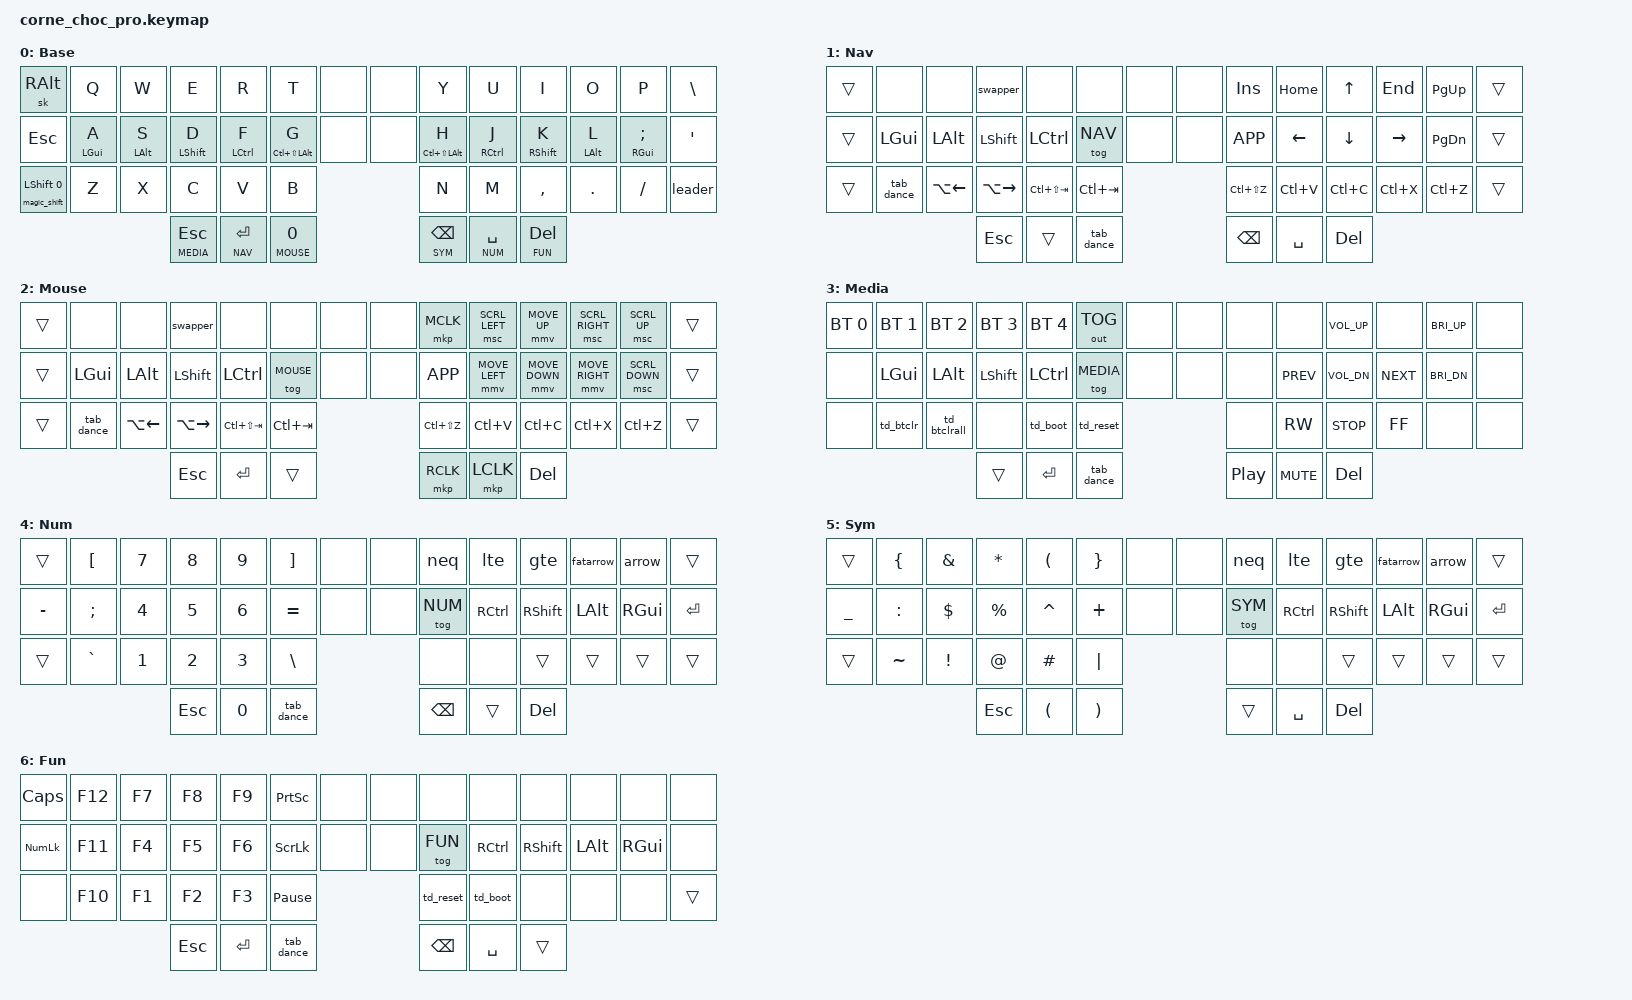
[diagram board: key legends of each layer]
/*
 * Corne Choc Pro BT - Miryoku-derived layout.
 *
 * Physical key positions:
 *
 *    0   1   2   3   4   5   6  |  7   8   9  10  11  12  13
 *   14  15  16  17  18  19  20  | 21  22  23  24  25  26  27
 *   28  29  30  31  32  33      |     34  35  36  37  38  39
 *               40  41  42      | 43  44  45
 *
 * Positions 6, 7, 20 and 21 are the board's optional inner keys, not fitted on
 * this unit, so their &none bindings never fire.
 *
 * Thumbs, outermost -> innermost:
 *   left  40 = Esc / MEDIA  41 = Enter / NAV  42 = Tab / MOUSE
 *   right 43 = Bspc / SYM   44 = Space / NUM  45 = Del / FUN
 */

#include <behaviors.dtsi>
#include <behaviors/num_word.dtsi>   // zmk-auto-layer
#include <dt-bindings/zmk/keys.h>
#include <dt-bindings/zmk/bt.h>
#include <dt-bindings/zmk/outputs.h>

/* Must precede pointing.h, which bakes these into MOVE_UP / SCRL_UP. */
#define ZMK_POINTING_DEFAULT_MOVE_VAL 1800
#define ZMK_POINTING_DEFAULT_SCRL_VAL 15
#include <dt-bindings/zmk/pointing.h>

#include <zmk-helpers/helper.h>

#define BASE  0
#define NAV   1
#define MOUSE 2
#define MEDIA 3
#define NUM   4
#define SYM   5
#define FUN   6

/* Meh = Ctrl+Shift+Alt, on the inner index finger of each hand. */
#define MEH LC(LS(LALT))

#define KEYS_L  0  1  2  3  4  5  6 14 15 16 17 18 19 20 28 29 30 31 32 33
#define KEYS_R  7  8  9 10 11 12 13 21 22 23 24 25 26 27 34 35 36 37 38 39
#define THUMBS 40 41 42 43 44 45

/* Tap a key then immediately hold it and the tap repeats. */
#define QUICK_TAP_MS 175

/* ZMK's &lt is tap-preferred with quick-tap disabled by default, which loses
 * tap-then-hold repeat on Backspace and Space.
 * No hold-trigger-key-positions: a layer thumb must be holdable alongside a
 * same-hand key, which the browser row on NAV/MOUSE relies on.
 * No require-prior-idle-ms: Space and Backspace must stay usable immediately
 * after a keystroke. */
&lt {
    flavor = "balanced";
    tapping-term-ms = <200>;
    quick-tap-ms = <QUICK_TAP_MS>;
};

/* trigger-period-ms is the report rate, 8ms = 125Hz, and is the main lever on
 * how smooth movement feels. acceleration-exponent: 0 = uniform speed,
 * 1 = uniform acceleration, 2 = uniform jerk. At 1 the speed ramps linearly to
 * ZMK_POINTING_DEFAULT_MOVE_VAL over time-to-max-speed-ms, so the ceiling and
 * the ramp together decide how fast it feels; use 0 for full speed on press. */
&mmv {
    trigger-period-ms = <8>;
    acceleration-exponent = <1>;
    time-to-max-speed-ms = <250>;
};

&msc {
    trigger-period-ms = <8>;
    acceleration-exponent = <0>;  /* constant-speed scrolling */
    time-to-max-speed-ms = <300>;
};

/* The operator macros emit EXCL, LT and GT. Without them here, typing != or
 * <= drops num-word mid-expression. */
&num_word {
    continue-list = <BACKSPACE DELETE DOT COMMA PLUS MINUS STAR FSLH EQUAL EXCL LT GT>;
};

/ {
    chosen {
        zmk,physical-layout = &default_layout;
    };
};

/* Home row mods, urob's "timeless" values. hold-trigger-key-positions limits
 * holds to the opposite hand plus thumbs, so a same-hand roll always taps;
 * hold-trigger-on-release defers the decision until the next key releases;
 * require-prior-idle-ms suppresses holds mid-flow. */
#define MAKE_HRM(NAME, TRIGGER_POS)                                            \
    ZMK_HOLD_TAP(NAME, bindings = <&kp>, <&kp>; flavor = "balanced";           \
                 tapping-term-ms = <280>; quick-tap-ms = <QUICK_TAP_MS>;       \
                 require-prior-idle-ms = <150>; hold-trigger-on-release;       \
                 hold-trigger-key-positions = <TRIGGER_POS>;)
MAKE_HRM(hml, KEYS_R THUMBS)
MAKE_HRM(hmr, KEYS_L THUMBS)

/* Tap: Tab | double-tap: Shift+Tab. lt_tab adds hold: MOUSE. */
ZMK_TAP_DANCE(tab_dance, tapping-term-ms = <200>; bindings = <&kp TAB>, <&kp LS(TAB)>;)
ZMK_HOLD_TAP(lt_tab, bindings = <&mo>, <&tab_dance>; flavor = "balanced";
             tapping-term-ms = <200>; quick-tap-ms = <QUICK_TAP_MS>;)

/* Destructive keys, behind a double tap: a single tap does nothing.
 * MEDIA is one thumb hold away, so these need the guard. */
#define GUARDED(NAME, BINDING)                                                 \
    ZMK_TAP_DANCE(NAME, tapping-term-ms = <300>; bindings = <&none>, <BINDING>;)
GUARDED(td_boot,  &bootloader)
GUARDED(td_reset, &sys_reset)
GUARDED(td_btclr, &bt BT_CLR)
GUARDED(td_btclrall, &bt BT_CLR_ALL)

/* Alt-Tab swapper. Holds Alt across repeated Tabs. The module only ends on
 * layer *activation*, never deactivation, so releasing the NAV thumb would
 * otherwise leave Alt held indefinitely - hence timeout-ms.
 * ignored-key-positions are the keys that may be pressed without committing:
 * 3 (the swapper itself), 17 (Shift, for Shift+Tab) and 23-25 (the arrows). */
ZMK_TRI_STATE(swapper, bindings = <&kt LALT>, <&kp TAB>, <&kt LALT>;
              ignored-key-positions = <3 17 23 24 25>;
              ignored-layers = <NAV MOUSE>; timeout-ms = <1500>;)

/*
 * Magic shift. One key, four jobs:
 *   hold                     -> Shift
 *   tap right after a letter -> repeat the last key
 *   tap otherwise            -> sticky Shift
 *   Shift + tap / double tap -> Caps Word
 *
 * Double tap is not coded: the first tap leaves a sticky Shift active, so the
 * second tap sees Shift held and the mod-morph sends Caps Word. Caps Word is
 * also on the left-thumb combo.
 */
ZMK_ADAPTIVE_KEY(shift_repeat, bindings = <&sk LSHFT>;
    repeat {
        trigger-keys = <A B C D E F G H I J K L M N O P Q R S T U V W X Y Z>;
        bindings = <&key_repeat>;
        max-prior-idle-ms = <1200>;
        strict-modifiers;
    };)
ZMK_MOD_MORPH(magic_shift_tap, bindings = <&shift_repeat>, <&caps_word>;
              mods = <(MOD_LSFT)>;)
ZMK_HOLD_TAP(magic_shift, bindings = <&kp>, <&magic_shift_tap>;
             flavor = "balanced"; tapping-term-ms = <200>;
             quick-tap-ms = <QUICK_TAP_MS>;)

/* Leader. Written out rather than via ZMK_LEADER_SEQUENCE, whose macro targets
 * the unmerged zmk,leader-sequences implementation rather than this module. */
/ {
    behaviors {
        leader: leader {
            compatible = "zmk,behavior-leader-key";
            #binding-cells = <0>;
            ignore-keys = <LSHFT RSHFT>;

            lead_ble   { sequence = <B L E>;     bindings = <&out OUT_BLE>; };
            lead_usb   { sequence = <U S B>;     bindings = <&out OUT_USB>; };
            lead_boot  { sequence = <B O O T>;   bindings = <&bootloader>; };
            lead_reset { sequence = <R E S E T>; bindings = <&sys_reset>; };

            /* Punctuation and maths. Single letters, avoiding B, U and R,
             * which are prefixes of the system sequences above. */
            lead_endash { sequence = <N>; bindings = <&c_endash>; };  // –
            lead_emdash { sequence = <M>; bindings = <&c_emdash>; };  // —
            lead_deg    { sequence = <D>; bindings = <&c_deg>; };  // °
            lead_times  { sequence = <X>; bindings = <&c_times>; };  // ×
            lead_div    { sequence = <FSLH>; bindings = <&c_div>; };  // ÷
            lead_pm     { sequence = <P>; bindings = <&c_pm>; };  // ±
            lead_ellip  { sequence = <DOT>; bindings = <&c_ellip>; };  // …
            lead_bullet { sequence = <O>; bindings = <&c_bullet>; };  // •
            lead_euro   { sequence = <E>; bindings = <&c_euro>; };  // €
            lead_sect   { sequence = <S>; bindings = <&c_sect>; };  // §
            lead_copy   { sequence = <C>; bindings = <&c_copy>; };  // ©
            lead_tm     { sequence = <T>; bindings = <&c_tm>; };  // ™
            lead_inv    { sequence = <V>; bindings = <&c_inv>; };  // ⁻¹
            lead_half   { sequence = <H>; bindings = <&c_half>; };  // ½

            /* Arrows sit on the same inverted-T as the Nav layer (I above J K L),
             * so the positions transfer. Doubled forms go on the row above. */
            lead_up     { sequence = <A I>; bindings = <&c_up>; };  // ↑
            lead_left   { sequence = <A J>; bindings = <&c_left>; };  // ←
            lead_down   { sequence = <A K>; bindings = <&c_down>; };  // ↓
            lead_right  { sequence = <A L>; bindings = <&c_right>; };  // →
            lead_iff    { sequence = <A U>; bindings = <&c_iff>; };  // ⇔
            lead_impl   { sequence = <A O>; bindings = <&c_implies>; };  // ⇒
            lead_bicond { sequence = <A P>; bindings = <&c_bicond>; };  // ↔
            lead_ne     { sequence = <K N>; bindings = <&c_ne>; };  // ≠
            lead_le     { sequence = <K L>; bindings = <&c_le>; };  // ≤
            lead_ge     { sequence = <K G>; bindings = <&c_ge>; };  // ≥
            lead_approx { sequence = <K A>; bindings = <&c_approx>; };  // ≈
            lead_ident  { sequence = <K E>; bindings = <&c_ident>; };  // ≡
            lead_cong   { sequence = <K C>; bindings = <&c_cong>; };  // ≅
            lead_ll     { sequence = <K COMMA>; bindings = <&c_ll>; };  // ≪
            lead_gg     { sequence = <K DOT>; bindings = <&c_gg>; };  // ≫
            lead_defeq  { sequence = <K D>; bindings = <&c_defeq>; };  // ≔
            lead_sqrt   { sequence = <Q>;   bindings = <&c_sqrt>; };  // √
            lead_inf    { sequence = <I>;   bindings = <&c_inf>; };  // ∞
            /* Prefix families. Each sends only the compose prefix, so the next key is
             * typed normally, from any layer, with Shift for a capital. */
            lead_greek { sequence = <G>;     bindings = <&c_greek>; };  // αβγ
            lead_sup   { sequence = <CARET>; bindings = <&c_sup>; };  // ⁿ
            lead_sub   { sequence = <UNDER>; bindings = <&c_sub>; };  // ₙ

            /* Logic and membership. */
            lead_all    { sequence = <L A>; bindings = <&c_all>; };  // ∀
            lead_exists { sequence = <L E>; bindings = <&c_exists>; };  // ∃
            lead_not    { sequence = <L N>; bindings = <&c_not>; };  // ¬
            lead_meet   { sequence = <L M>; bindings = <&c_and>; };  // ∧
            lead_join   { sequence = <L J>; bindings = <&c_or>; };  // ∨
            lead_xor    { sequence = <L X>; bindings = <&c_xor>; };  // ⊻
            lead_thus   { sequence = <L T>; bindings = <&c_thus>; };  // ∴
            lead_since  { sequence = <L B>; bindings = <&c_since>; };  // ∵
            lead_qed    { sequence = <L Q>; bindings = <&c_qed>; };  // ∎
            lead_in     { sequence = <L I>; bindings = <&c_in>; };  // ∈
            lead_notin  { sequence = <L O>; bindings = <&c_notin>; };  // ∉
            lead_owns   { sequence = <L R>; bindings = <&c_ni>; };  // ∋
            lead_empty  { sequence = <L Z>; bindings = <&c_empty>; };  // ∅
            lead_union  { sequence = <L U>; bindings = <&c_union>; };  // ∪
            lead_inter  { sequence = <L C>; bindings = <&c_inter>; };  // ∩
            lead_subset { sequence = <L S>; bindings = <&c_subset>; };  // ⊂
            lead_supset { sequence = <L G>; bindings = <&c_supset>; };  // ⊃
            lead_subeq  { sequence = <L K>; bindings = <&c_subeq>; };  // ⊆
            lead_supeq  { sequence = <L P>; bindings = <&c_supeq>; };  // ⊇

            /* Number sets. */
            lead_reals  { sequence = <HASH R>; bindings = <&c_reals>; };  // ℝ
            lead_nats   { sequence = <HASH N>; bindings = <&c_nats>; };  // ℕ
            lead_ints   { sequence = <HASH Z>; bindings = <&c_ints>; };  // ℤ
            lead_rats   { sequence = <HASH Q>; bindings = <&c_rats>; };  // ℚ
            lead_cplx   { sequence = <HASH C>; bindings = <&c_cplx>; };  // ℂ
            lead_quats  { sequence = <HASH H>; bindings = <&c_quats>; };  // ℍ  // ∵

            /* Big operators. */
            lead_sum      { sequence = <F S>;    bindings = <&c_sum>; };  // ∑
            lead_prod     { sequence = <F P>;    bindings = <&c_prod>; };  // ∏  // ∑
            lead_integral { sequence = <F I>;    bindings = <&c_int>; };  // ∫
            lead_oint     { sequence = <F O>;    bindings = <&c_oint>; };  // ∮
            lead_partial  { sequence = <F D>;    bindings = <&c_part>; };  // ∂
            lead_nabla    { sequence = <F N>;    bindings = <&c_del>; };  // ∇
            lead_ring     { sequence = <F C>;    bindings = <&c_ring>; };  // ∘
            lead_cdot     { sequence = <F DOT>;  bindings = <&c_cdot>; };  // ⋅
            lead_hdots    { sequence = <F H>; bindings = <&c_hdots>; };  // ⋯
            lead_vdots    { sequence = <F V>; bindings = <&c_vdots>; };  // ⋮
            lead_ddots    { sequence = <F G>; bindings = <&c_ddots>; };  // ⋱
            lead_otimes   { sequence = <F X>;    bindings = <&c_otimes>; };  // ⊗
            lead_oplus    { sequence = <F A>; bindings = <&c_oplus>; };  // ⊕

            /* Quotes and marks. */
            lead_ldquo  { sequence = <SQT O>;   bindings = <&c_ldquo>; };  // “
            lead_rdquo  { sequence = <SQT P>;   bindings = <&c_rdquo>; };  // ”
            lead_lsquo  { sequence = <SQT K>;   bindings = <&c_lsquo>; };  // ‘
            lead_rsquo  { sequence = <SQT L>;   bindings = <&c_rsquo>; };  // ’
            lead_bdquo  { sequence = <SQT D>;   bindings = <&c_bdquo>; };  // „
            lead_laquo  { sequence = <SQT COMMA>;   bindings = <&c_laquo>; };  // «
            lead_raquo  { sequence = <SQT DOT>;   bindings = <&c_raquo>; };  // »
            lead_prime  { sequence = <SQT F>; bindings = <&c_prime>; };  // ′
            lead_dprime { sequence = <SQT I>; bindings = <&c_dprime>; };  // ″
            lead_dagger { sequence = <SQT T>;   bindings = <&c_dagger>; };  // †
            lead_permil { sequence = <SQT M>;   bindings = <&c_permil>; };  // ‰
            lead_pertenk{ sequence = <SQT X>; bindings = <&c_pertenk>; };  // ‱
            lead_fleuron{ sequence = <SQT H>; bindings = <&c_fleuron>; };  // ❦
            lead_asteri { sequence = <SQT A>; bindings = <&c_asteri>; };  // ⁂
            lead_tribull{ sequence = <SQT N>; bindings = <&c_tribull>; };  // ‣
            lead_interro{ sequence = <SQT Q>; bindings = <&c_interro>; };  // ‽
            lead_twodot { sequence = <SQT E>; bindings = <&c_twodot>; };  // ‥
            lead_iquest { sequence = <SQT U>; bindings = <&c_iquest>; };  // ¿
            lead_iexcl  { sequence = <SQT V>; bindings = <&c_iexcl>; };  // ¡
        };
    };
};

/* Operator row, on the hand opposite the held layer thumb. */
#define OP(NAME, KEYS) ZMK_MACRO(NAME, wait-ms = <0>; tap-ms = <5>; bindings = <KEYS>;)
OP(neq,      &kp EXCL  &kp EQUAL)
OP(lte,      &kp LT    &kp EQUAL)
OP(gte,      &kp GT    &kp EQUAL)
OP(fatarrow, &kp EQUAL &kp GT)
OP(arrow,    &kp MINUS &kp GT)

/* Compose sequences, reached through the leader key.
 *
 * AltGr is the OS Level-3 chooser for a-ring / a-diaeresis / o-diaeresis, which
 * are daily and want a single chord, so compose lives on Menu instead. The two
 * cannot share a key: AltGr is either a modifier or Multi_key, not both.
 *
 * Compose is tapped, not held - it needs press-and-release before the sequence
 * keys. Change COMPOSE_KEY if you bind compose somewhere else.
 *
 * These are shortcuts, not a requirement: any compose sequence can still be
 * typed by hand. Add more by following the same pattern. */
#define COMPOSE_KEY &kp K_APP

#define COMPOSE(NAME, KEYS)                                                        \
    ZMK_MACRO(NAME, wait-ms = <10>; tap-ms = <10>; bindings = <COMPOSE_KEY KEYS>;)

COMPOSE(c_endash, &kp MINUS &kp MINUS &kp DOT)     // en dash
COMPOSE(c_emdash, &kp MINUS &kp MINUS &kp MINUS)   // em dash
COMPOSE(c_deg,    &kp O     &kp O)                 // degree
COMPOSE(c_times,  &kp X     &kp X)                 // multiplication sign
COMPOSE(c_div,    &kp COLON &kp MINUS)             // division sign
COMPOSE(c_pm,     &kp PLUS  &kp MINUS)             // plus-minus
COMPOSE(c_ellip,  &kp DOT   &kp DOT)               // ellipsis
COMPOSE(c_bullet, &kp DOT   &kp EQUAL)             // bullet
COMPOSE(c_euro,   &kp E     &kp EQUAL)             // euro
COMPOSE(c_sect,   &kp S     &kp O)                 // section
COMPOSE(c_copy,   &kp O     &kp C)                 // copyright
COMPOSE(c_tm,     &kp T     &kp M)                 // trademark
COMPOSE(c_half,   &kp N1    &kp N2)                // one half

/* Arrows and relations. All from the Xorg base table, and the dead-key-free
 * variant is used where the table offers a choice, so these work on a stock
 * system with no ~/.XCompose. */
COMPOSE(c_right,   &kp MINUS &kp GT)               // rightwards arrow
COMPOSE(c_left,    &kp LT    &kp MINUS)            // leftwards arrow
COMPOSE(c_up,      &kp PIPE  &kp CARET)            // upwards arrow
COMPOSE(c_down,    &kp PIPE  &kp V)                // downwards arrow
COMPOSE(c_implies, &kp EQUAL &kp GT)               // rightwards double arrow
COMPOSE(c_ne,      &kp FSLH  &kp EQUAL)            // not equal to
COMPOSE(c_le,      &kp LT    &kp EQUAL)            // less-than or equal to
COMPOSE(c_ge,      &kp GT    &kp EQUAL)            // greater-than or equal to
COMPOSE(c_approx,  &kp TILDE &kp TILDE)            // almost equal to
COMPOSE(c_sqrt,    &kp V     &kp FSLH)             // square root
COMPOSE(c_inf,     &kp N8    &kp N8)               // infinity

/* Prefix-only sequences. Compose is stateful, so the leader has already exited
 * by the time the OS waits for the rest: type it from any layer, and Shift for
 * a capital. One macro each covers a whole family.
 *   *  the compose table's Greek prefix: all 25 letters, plus o=composition
 *      and .=dot operator. Its letters are the table's, not phonetic: theta=u,
 *      xi=j, phi=f, chi=x, psi=c, omega=v.
 *   ^  superscript, _ subscript: 0-9 - + = ( ) */
COMPOSE(c_greek,  &kp ASTRK)
COMPOSE(c_sup,    &kp CARET)
COMPOSE(c_sub,    &kp UNDER)
COMPOSE(c_inv,    &kp CARET &kp MINUS COMPOSE_KEY &kp CARET &kp N1)

/* Big operators. These are word sequences in the compose table, which prefixes
 * them with a second compose press. */
#define COMPOSE2(NAME, KEYS) COMPOSE(NAME, COMPOSE_KEY KEYS)
COMPOSE2(c_sum,   &kp S &kp U &kp M)               // sum
COMPOSE2(c_int,   &kp I &kp N &kp T)               // integral
COMPOSE2(c_oint,  &kp O &kp I &kp N &kp T)         // contour integral
COMPOSE2(c_part,  &kp P &kp A &kp R &kp T)         // partial
COMPOSE2(c_del,   &kp D &kp E &kp L)               // nabla
COMPOSE2(c_ring,  &kp ASTRK &kp O)                 // ring operator
COMPOSE2(c_cdot,  &kp ASTRK &kp DOT)               // dot operator
COMPOSE(c_otimes, &kp LPAR &kp X &kp X &kp RPAR)
COMPOSE(c_oplus,  &kp LPAR &kp PLUS &kp RPAR)
/* Seven sequences need ~/.XCompose rather than a standard table: this one has
 * no standard rule at all, four have one that a shorter sequence completes
 * before it, and for-all and exists sit on sequences the base table already
 * uses. Each is marked needs-XCompose below. */
COMPOSE2(c_prod,  &kp P &kp R &kp O &kp D)         // product, needs-XCompose

/* Number sets, doubled capitals in the table. */
COMPOSE(c_reals,  &kp LS(R) &kp LS(R))
COMPOSE(c_nats,   &kp LS(N) &kp LS(N))
COMPOSE(c_ints,   &kp LS(Z) &kp LS(Z))
COMPOSE(c_rats,   &kp LS(Q) &kp LS(Q))
COMPOSE(c_cplx,   &kp LS(C) &kp LS(C))
COMPOSE(c_quats,  &kp PIPE  &kp LS(H))

COMPOSE2(c_iff,   &kp I &kp F &kp F)               // if and only if, needs-XCompose
COMPOSE2(c_bicond,&kp L &kp R)                     // bidirectional, needs-XCompose
COMPOSE(c_xor,    &kp BSLH &kp UNDER &kp FSLH)         // exclusive or

/* Logic and set membership. */
COMPOSE(c_in,     &kp I     &kp N)
COMPOSE2(c_notin, &kp N &kp O &kp T &kp I &kp N)   // needs-XCompose
COMPOSE(c_ni,     &kp N     &kp I)
COMPOSE(c_empty,  &kp N0    &kp FSLH)
COMPOSE2(c_all,   &kp A &kp L &kp L)               // needs-XCompose
COMPOSE2(c_exists,&kp E &kp X &kp I)               // needs-XCompose
COMPOSE(c_not,    &kp COMMA &kp MINUS)
COMPOSE(c_and,    &kp FSLH  &kp BSLH)
COMPOSE(c_or,     &kp BSLH  &kp FSLH)
COMPOSE(c_union,  &kp LBRC  &kp LS(U))
COMPOSE(c_inter,  &kp LBRC  &kp CARET)
COMPOSE(c_subset, &kp LBRC  &kp LPAR)
COMPOSE(c_subeq,  &kp LBRC  &kp EQUAL &kp LPAR)
COMPOSE(c_supeq,  &kp LBRC  &kp EQUAL &kp RPAR)
COMPOSE(c_supset, &kp LBRC  &kp RPAR)
COMPOSE(c_thus,   &kp COLON &kp DOT)
COMPOSE(c_since,  &kp DOT   &kp COLON)

/* Relations. */
COMPOSE(c_ident,  &kp EQUAL &kp EQUAL)
COMPOSE(c_cong,   &kp TILDE &kp EQUAL)
COMPOSE(c_ll,     &kp PLUS  &kp LT)
COMPOSE(c_gg,     &kp PLUS  &kp GT)

/* Quotes and marks, on the table's own < and > pattern. */
COMPOSE(c_ldquo,  &kp LT    &kp DQT)
COMPOSE(c_rdquo,  &kp GT    &kp DQT)
COMPOSE(c_lsquo,  &kp LT    &kp SQT)
COMPOSE(c_rsquo,  &kp GT    &kp SQT)
COMPOSE(c_bdquo,  &kp COMMA &kp DQT)
COMPOSE(c_laquo,  &kp LT    &kp LT)
COMPOSE(c_raquo,  &kp GT    &kp GT)
COMPOSE(c_prime,  &kp ASTRK &kp DOT &kp SQT)
COMPOSE(c_dprime, &kp ASTRK &kp DOT &kp DQT)
COMPOSE(c_dagger, &kp D &kp A &kp G)
COMPOSE(c_permil, &kp PERCENT &kp O)
COMPOSE(c_pertenk,&kp PERCENT &kp PERCENT)
COMPOSE(c_fleuron,&kp F     &kp LT    &kp N3)
COMPOSE(c_asteri, &kp ASTRK &kp N3)
COMPOSE(c_tribull,&kp PIPE  &kp GT)
COMPOSE(c_interro,&kp EXCL  &kp QMARK)
COMPOSE(c_twodot, &kp N2    &kp DOT)
COMPOSE(c_iquest, &kp QMARK &kp QMARK)
COMPOSE(c_iexcl,  &kp EXCL  &kp EXCL)
COMPOSE(c_defeq,  &kp COLON &kp EQUAL)
COMPOSE2(c_hdots, &kp D &kp O &kp T &kp S)         // needs-XCompose
COMPOSE(c_vdots,  &kp V     &kp DOT   &kp DOT)
COMPOSE(c_ddots,  &kp DOT   &kp BSLH  &kp DOT)
COMPOSE2(c_qed,   &kp LS(Q) &kp LS(E) &kp LS(D))

/*
 * ZMK_COMBO(name, bindings, positions, layers, timeout, prior-idle).
 *
 * All are scoped to BASE. ZMK tests a combo against the *highest* active
 * layer, so listing BASE suppresses them whenever a sub-layer is held -
 * without it the clipboard combos would fire on NAV/MOUSE, where those
 * positions carry the browser row.
 *
 * prior-idle is split by misfire risk: the top-row bracket combos sit on
 * common digraphs (we, er, ui, io, op) and need the protection, while the
 * home-row and clipboard ones sit on rare digraphs (df, jk, zx, xc, cv, vb)
 * and are set low so they stay responsive right after a keystroke - which is
 * when you reach for backspace or escape. The word modes take a tight window
 * instead, so a roll between two thumbs cannot misfire.
 */
ZMK_COMBO(lbkt, &kp LBKT, 1 2, BASE, 50, 150)                             // Q + W -> [
ZMK_COMBO(lbrc, &kp LBRC, 2 3, BASE, 50, 150)                             // W + E -> {
ZMK_COMBO(lpar, &kp LPAR, 3 4, BASE, 50, 150)                             // E + R -> (
ZMK_COMBO(rpar, &kp RPAR, 9 10, BASE, 50, 150)                            // U + I -> )
ZMK_COMBO(rbrc, &kp RBRC, 10 11, BASE, 50, 150)                           // I + O -> }
ZMK_COMBO(rbkt, &kp RBKT, 11 12, BASE, 50, 150)                           // O + P -> ]
// <= and >= stay on NUM and SYM: only one of the pair fits on this row, and
// splitting them is worse.
ZMK_COMBO(neq, &neq, 34 35, BASE, 50, 150)                                // N + M -> !=
ZMK_COMBO(rarrow, &arrow, 35 36, BASE, 50, 150)                           // M + , -> ->
ZMK_COMBO(fatarrow, &fatarrow, 36 37, BASE, 50, 150)                      // , + . -> =>
ZMK_COMBO(bspc, &kp BSPC, 17 18, BASE, 50, 50)                            // D + F -> Backspace
ZMK_COMBO(esc, &kp ESC, 23 24, BASE, 50, 50)                              // J + K -> Escape
// Mirrored across the split: A + S and L + ; are the same two positions on
// either hand. Shift gives plus and underscore for free.
ZMK_COMBO(equal, &kp EQUAL, 15 16, BASE, 50, 50)                          // A + S -> Equal
ZMK_COMBO(minus, &kp MINUS, 25 26, BASE, 50, 50)                          // L + ; -> Minus
ZMK_COMBO(undo, &kp LC(Z), 29 30, BASE, 50, 50)                           // Z + X -> Undo
ZMK_COMBO(cut, &kp LC(X), 30 31, BASE, 50, 50)                            // X + C -> Cut
ZMK_COMBO(copy, &kp LC(C), 31 32, BASE, 50, 50)                           // C + V -> Copy
ZMK_COMBO(paste, &kp LC(V), 32 33, BASE, 50, 50)                          // V + B -> Paste
ZMK_COMBO(caps_word, &caps_word, 41 42, BASE, 40, 0)                      // both left thumbs  -> caps-word
ZMK_COMBO(num_word, &num_word NUM, 43 44, BASE, 40, 0)                    // both right thumbs -> num-word

ZMK_LAYER(Base,

&sk RALT    &kp Q        &kp W        &kp E         &kp R         &kp T         &none      &none  &kp Y       &kp U         &kp I         &kp O        &kp P           &kp BSLH
&kp ESC     &hml LGUI A  &hml LALT S  &hml LSHFT D  &hml LCTRL F  &hml MEH G    &none      &none  &hmr MEH H  &hmr RCTRL J  &hmr RSHFT K  &hmr LALT L  &hmr RGUI SEMI  &kp SQT
&magic_shift LSHFT 0  &kp Z  &kp X   &kp C         &kp V         &kp B                           &kp N       &kp M         &kp COMMA     &kp DOT      &kp FSLH        &leader
                                      &lt MEDIA ESC &lt NAV RET   &lt_tab MOUSE 0                 &lt SYM BSPC  &lt NUM SPACE  &lt FUN DEL
)

ZMK_LAYER(Nav,

&trans   &none      &none      &swapper    &none       &none          &none  &none  &kp INS       &kp HOME   &kp UP     &kp END    &kp PG_UP  &trans
&trans   &kp LGUI   &kp LALT   &kp LSHFT   &kp LCTRL   &tog NAV       &none  &none  &kp K_APP     &kp LEFT   &kp DOWN   &kp RIGHT  &kp PG_DN  &trans
&trans   &tab_dance &kp LA(LEFT)     &kp LA(RIGHT) &kp LC(LS(TAB)) &kp LC(TAB)      &kp LC(LS(Z)) &kp LC(V)  &kp LC(C)  &kp LC(X)  &kp LC(Z)  &trans
                                      &kp ESC   &trans     &tab_dance          &kp BSPC   &kp SPACE   &kp DEL
)

ZMK_LAYER(Mouse,

&trans   &none      &none      &swapper    &none       &none          &none  &none  &mkp MCLK     &msc SCRL_LEFT  &mmv MOVE_UP    &msc SCRL_RIGHT  &msc SCRL_UP    &trans
&trans   &kp LGUI   &kp LALT   &kp LSHFT   &kp LCTRL   &tog MOUSE     &none  &none  &kp K_APP     &mmv MOVE_LEFT  &mmv MOVE_DOWN  &mmv MOVE_RIGHT  &msc SCRL_DOWN  &trans
&trans   &tab_dance &kp LA(LEFT)     &kp LA(RIGHT) &kp LC(LS(TAB)) &kp LC(TAB)      &kp LC(LS(Z)) &kp LC(V)       &kp LC(C)       &kp LC(X)        &kp LC(Z)       &trans
                                      &kp ESC   &kp RET    &trans              &mkp RCLK  &mkp LCLK   &kp DEL
)

ZMK_LAYER(Media,

&bt BT_SEL 0 &bt BT_SEL 1 &bt BT_SEL 2 &bt BT_SEL 3 &bt BT_SEL 4  &out OUT_TOG  &none  &none  &none  &none        &kp C_VOL_UP  &none        &kp C_BRI_UP &none
&none      &kp LGUI      &kp LALT      &kp LSHFT     &kp LCTRL     &tog MEDIA    &none  &none  &none   &kp C_PREV  &kp C_VOL_DN  &kp C_NEXT   &kp C_BRI_DN &none
&none      &td_btclr     &td_btclrall  &none         &td_boot      &td_reset                   &none  &kp C_RW     &kp C_STOP    &kp C_FF     &none  &none
                                      &trans    &kp RET    &tab_dance          &kp C_PP   &kp C_MUTE  &kp DEL
)

ZMK_LAYER(Num,

&trans   &kp LBKT   &kp N7   &kp N8   &kp N9   &kp RBKT    &none  &none  &neq       &lte        &gte        &fatarrow  &arrow    &trans
&kp MINUS &kp SEMI  &kp N4   &kp N5   &kp N6   &kp EQUAL   &none  &none  &tog NUM   &kp RCTRL   &kp RSHFT   &kp LALT   &kp RGUI  &kp RET
&trans   &kp GRAVE  &kp N1   &kp N2   &kp N3   &kp BSLH                  &none      &none       &trans      &trans     &trans    &trans
                                      &kp ESC   &kp N0     &tab_dance          &kp BSPC   &trans      &kp DEL
)

ZMK_LAYER(Sym,

&trans   &kp LBRC   &kp AMPS   &kp ASTRK  &kp LPAR   &kp RBRC   &none  &none  &neq       &lte        &gte        &fatarrow  &arrow    &trans
&kp UNDER &kp COLON &kp DLLR   &kp PRCNT  &kp CARET  &kp PLUS   &none  &none  &tog SYM   &kp RCTRL   &kp RSHFT   &kp LALT   &kp RGUI  &kp RET
&trans   &kp TILDE  &kp EXCL   &kp AT     &kp HASH   &kp PIPE                 &none      &none       &trans      &trans     &trans    &trans
                                      &kp ESC   &kp LPAR   &kp RPAR            &trans     &kp SPACE   &kp DEL
)

ZMK_LAYER(Fun,

&kp CAPS &kp F12   &kp F7   &kp F8   &kp F9   &kp PSCRN         &none       &none  &none      &none       &none       &none      &none     &none
&kp KP_NUM &kp F11 &kp F4   &kp F5   &kp F6   &kp SLCK          &none       &none  &tog FUN   &kp RCTRL   &kp RSHFT   &kp LALT   &kp RGUI  &none
&none    &kp F10   &kp F1   &kp F2   &kp F3   &kp PAUSE_BREAK                      &td_reset  &td_boot    &none       &none      &none     &trans
                                      &kp ESC   &kp RET    &tab_dance          &kp BSPC   &kp SPACE   &trans
)

